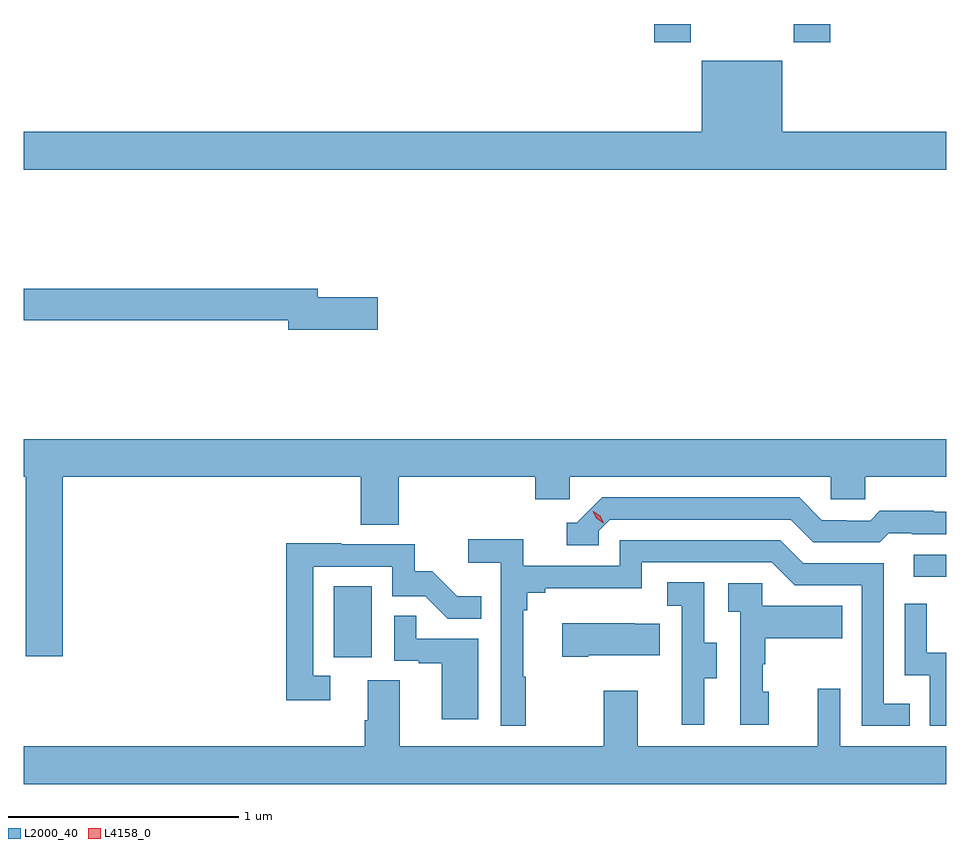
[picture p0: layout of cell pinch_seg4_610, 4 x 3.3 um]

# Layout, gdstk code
import gdstk
lib = gdstk.Library(unit=1e-6, precision=1e-09)
def R(c, l, rs):  # rectangles x0, y0, x1, y1
    for r in rs: c.add(gdstk.rectangle(r[:2], r[2:], *l))
def P(c, l, *ps):  # polygons
    for p in ps: c.add(gdstk.Polygon(p, *l))
L2000_40 = (2000, 40)
L4158_0 = (4158, 0)

pinch_seg4_610 = lib.new_cell('pinch_seg4_610')
R(pinch_seg4_610, L2000_40, [(1022.462,782.718,1022.626,783.025), (1024.977,783.066,1025.118,783.162), (1023.851,785.385,1024.011,785.464), (1024.456,785.385,1024.616,785.464)])
P(pinch_seg4_610, L2000_40, [(1025.118,784.996),(1024.408,784.996),(1024.408,785.305),(1024.058,785.305),(1024.058,784.996),(1021.118,784.996),(1021.118,784.832),(1025.118,784.832)],
  [(1022.653,784.28),(1022.392,784.28),(1022.392,784.316),(1021.118,784.316),(1021.118,784.18),(1022.264,784.18),(1022.264,784.138),(1022.653,784.138)],
  [(1021.286,783.5),(1022.579,783.5),(1022.579,783.292),(1022.744,783.292),(1022.744,783.5),(1023.335,783.5),(1023.335,783.402),(1023.486,783.402),(1023.486,783.5),(1024.617,783.5),(1024.617,783.402),(1024.767,783.402),(1024.767,783.5),(1025.118,783.5),(1025.118,783.664),(1021.118,783.664),(1021.118,783.5),(1021.126,783.5),(1021.126,782.721),(1021.286,782.721)],
  [(1023.612,783.267),(1023.66,783.315),(1024.443,783.315),(1024.542,783.216),(1024.831,783.216),(1024.87,783.255),(1024.969,783.255),(1024.969,783.252),(1025.118,783.252),(1025.118,783.349),(1025.064,783.349),(1025.064,783.352),(1024.831,783.352),(1024.789,783.309),(1024.686,783.309),(1024.686,783.312),(1024.579,783.312),(1024.48,783.411),(1023.627,783.411),(1023.516,783.3),(1023.473,783.3),(1023.473,783.204),(1023.612,783.204)],
  [(1023.295,782.633),(1023.283,782.633),(1023.283,782.921),(1023.302,782.921),(1023.302,782.998),(1023.379,782.998),(1023.379,783.017),(1023.798,783.017),(1023.798,783.129),(1024.362,783.129),(1024.461,783.03),(1024.752,783.03),(1024.752,782.421),(1024.961,782.421),(1024.961,782.517),(1024.848,782.517),(1024.848,783.126),(1024.498,783.126),(1024.399,783.225),(1023.702,783.225),(1023.702,783.114),(1023.284,783.114),(1023.284,783.23),(1023.045,783.23),(1023.045,783.128),(1023.186,783.128),(1023.186,782.421),(1023.295,782.421)],
  [(1022.446,782.637),(1022.373,782.637),(1022.373,783.111),(1022.715,783.111),(1022.715,782.982),(1022.859,782.982),(1022.957,782.884),(1023.101,782.884),(1023.101,782.983),(1022.997,782.983),(1022.89,783.09),(1022.814,783.09),(1022.814,783.207),(1022.495,783.207),(1022.495,783.212),(1022.257,783.212),(1022.257,782.532),(1022.446,782.532)],
  [(1024.069,782.626),(1024.123,782.626),(1024.123,782.781),(1024.068,782.781),(1024.068,783.044),(1023.909,783.044),(1023.909,782.941),(1023.972,782.941),(1023.972,782.637),(1023.971,782.637),(1023.971,782.424),(1024.069,782.424)],
  [(1024.348,782.568),(1024.323,782.568),(1024.323,782.687),(1024.333,782.687),(1024.333,782.801),(1024.667,782.801),(1024.667,782.941),(1024.32,782.941),(1024.32,783.039),(1024.173,783.039),(1024.173,782.915),(1024.224,782.915),(1024.224,782.424),(1024.348,782.424)],
  [(1025.118,782.738),(1025.034,782.738),(1025.034,782.95),(1024.938,782.95),(1024.938,782.64),(1025.046,782.64),(1025.046,782.421),(1025.118,782.421)],
  [(1023.088,782.799),(1022.819,782.799),(1022.819,782.897),(1022.724,782.897),(1022.724,782.703),(1022.831,782.703),(1022.831,782.691),(1022.93,782.691),(1022.93,782.448),(1023.088,782.448)],
  [(1023.565,782.726),(1023.875,782.726),(1023.875,782.863),(1023.767,782.863),(1023.767,782.866),(1023.453,782.866),(1023.453,782.719),(1023.565,782.719)],
  [(1025.118,782.332),(1024.659,782.332),(1024.659,782.581),(1024.562,782.581),(1024.562,782.332),(1023.781,782.332),(1023.781,782.572),(1023.634,782.572),(1023.634,782.332),(1022.749,782.332),(1022.749,782.618),(1022.609,782.618),(1022.609,782.444),(1022.597,782.444),(1022.597,782.332),(1021.118,782.332),(1021.118,782.168),(1025.118,782.168)])
P(pinch_seg4_610, L4158_0, [(1023.634,783.299),(1023.603,783.318),(1023.586,783.351),(1023.586,783.351),(1023.587,783.351),(1023.618,783.332),(1023.634,783.3),(1023.634,783.299)])

lib.write_gds('pinch_seg4_610.gds')
